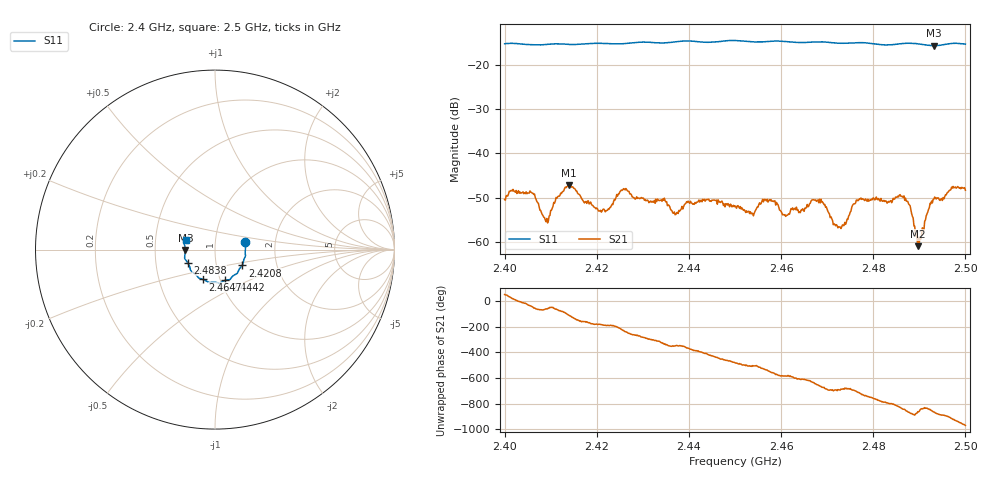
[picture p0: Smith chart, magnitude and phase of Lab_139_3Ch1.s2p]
# Hz S RI R 50
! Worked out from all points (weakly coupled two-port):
!   601 points, 2.4 GHz to 2.5 GHz, reference 50 ohm
!   highest |S21| = -47.13 dB at 2.414 GHz (marker M1); lowest = -60.9 dB at 2.4897 GHz (marker M2)
!   lowest |S11| = -15.6 dB at 2.4932 GHz (marker M3), VSWR 1.40, Z = 35.8 - j0.12 ohm
!   |S11| at or under -10 dB: start of sweep to end of sweep
!   S12 and S22 are empty: the file has one direction only
!   S11 on the Smith chart (normalised r, x): 2.4 GHz: 1.40, +0.12; 2.4208 GHz: 1.33, -0.24; 2.4442 GHz: 1.05, -0.37; 2.4647 GHz: 0.83, -0.29; 2.4838 GHz: 0.73, -0.11; 2.5 GHz: 0.71, +0.08
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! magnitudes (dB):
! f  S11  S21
! 2.4 GHz  -15.2  -50.4
! 2.406 GHz  -15.4  -49.0
! 2.409 GHz  -15.4  -55.4
! 2.414 GHz  -15.4  -47.1
! 2.4167 GHz  -15.3  -50.1
! 2.4208 GHz  -15.1  -52.8
! 2.4258 GHz  -15.2  -47.9
! 2.4333 GHz  -15.0  -50.5
! 2.4372 GHz  -14.8  -53.8
! 2.4442 GHz  -14.9  -50.4
! 2.45 GHz  -14.5  -51.8
! 2.4647 GHz  -14.9  -52.5
! 2.4667 GHz  -14.8  -50.5
! 2.4692 GHz  -14.8  -51.2
! 2.4727 GHz  -15.1  -56.6
! 2.4768 GHz  -15.0  -50.5
! 2.4833 GHz  -15.5  -50.8
! 2.4838 GHz  -15.5  -50.6
! 2.4875 GHz  -15.1  -50.8
! 2.4897 GHz  -15.2  -60.9
! 2.4932 GHz  -15.6  -50.3
! 2.5 GHz  -15.3  -48.3
